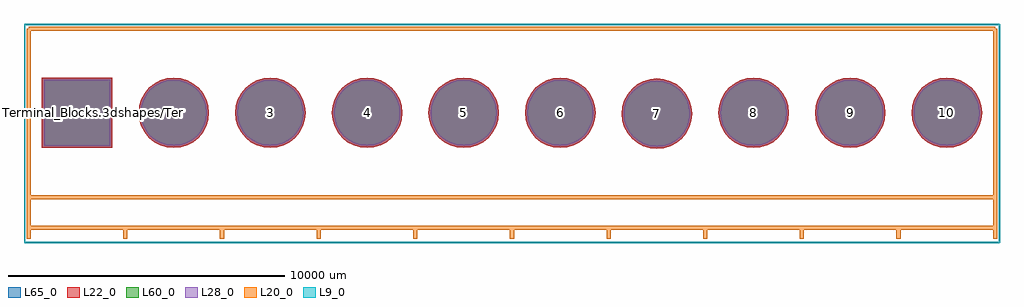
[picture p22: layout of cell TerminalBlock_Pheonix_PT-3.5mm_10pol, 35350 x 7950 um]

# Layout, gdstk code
import gdstk
lib = gdstk.Library(unit=1e-6, precision=1e-09)
def R(c, l, rs):  # rectangles x0, y0, x1, y1
    for r in rs: c.add(gdstk.rectangle(r[:2], r[2:], *l))
def P(c, l, *ps):  # polygons
    for p in ps: c.add(gdstk.Polygon(p, *l))
L9_0 = (9, 0)
L20_0 = (20, 0)
L22_0 = (22, 0)
L28_0 = (28, 0)
L60_0 = (60, 0)
L65_0 = (65, 0)

terminalblock_pheonix_pt = lib.new_cell('TerminalBlock_Pheonix_PT-3.5mm_10pol')
R(terminalblock_pheonix_pt, L22_0, [(-1275,-1275,1275,1275)])
P(terminalblock_pheonix_pt, L22_0, [(32775,0),(32750.501,248.74),(32677.946,487.921),(32560.124,708.352),(32401.561,901.561),(32208.352,1060.124),(31987.921,1177.946),(31748.74,1250.501),(31500,1275),(31251.26,1250.501),(31012.079,1177.946),(30791.648,1060.124),(30598.439,901.561),(30439.876,708.352),(30322.054,487.921),(30249.499,248.74),(30225,0),(30249.499,-248.74),(30322.054,-487.921),(30439.876,-708.352),(30598.439,-901.561),(30791.648,-1060.124),(31012.079,-1177.946),(31251.26,-1250.501),(31500,-1275),(31748.74,-1250.501),(31987.921,-1177.946),(32208.352,-1060.124),(32401.561,-901.561),(32560.124,-708.352),(32677.946,-487.921),(32750.501,-248.74)],
  [(29275,0),(29250.501,248.74),(29177.946,487.921),(29060.124,708.352),(28901.561,901.561),(28708.352,1060.124),(28487.921,1177.946),(28248.74,1250.501),(28000,1275),(27751.26,1250.501),(27512.079,1177.946),(27291.648,1060.124),(27098.439,901.561),(26939.876,708.352),(26822.054,487.921),(26749.499,248.74),(26725,0),(26749.499,-248.74),(26822.054,-487.921),(26939.876,-708.352),(27098.439,-901.561),(27291.648,-1060.124),(27512.079,-1177.946),(27751.26,-1250.501),(28000,-1275),(28248.74,-1250.501),(28487.921,-1177.946),(28708.352,-1060.124),(28901.561,-901.561),(29060.124,-708.352),(29177.946,-487.921),(29250.501,-248.74)],
  [(25775,0),(25750.501,248.74),(25677.946,487.921),(25560.124,708.352),(25401.561,901.561),(25208.352,1060.124),(24987.921,1177.946),(24748.74,1250.501),(24500,1275),(24251.26,1250.501),(24012.079,1177.946),(23791.648,1060.124),(23598.439,901.561),(23439.876,708.352),(23322.054,487.921),(23249.499,248.74),(23225,0),(23249.499,-248.74),(23322.054,-487.921),(23439.876,-708.352),(23598.439,-901.561),(23791.648,-1060.124),(24012.079,-1177.946),(24251.26,-1250.501),(24500,-1275),(24748.74,-1250.501),(24987.921,-1177.946),(25208.352,-1060.124),(25401.561,-901.561),(25560.124,-708.352),(25677.946,-487.921),(25750.501,-248.74)],
  [(22275,-31.729),(22250.501,217.011),(22177.946,456.192),(22060.124,676.623),(21901.561,869.832),(21708.352,1028.395),(21487.921,1146.217),(21248.74,1218.772),(21000,1243.271),(20751.26,1218.772),(20512.079,1146.217),(20291.648,1028.395),(20098.439,869.832),(19939.876,676.623),(19822.054,456.192),(19749.499,217.011),(19725,-31.729),(19749.499,-280.469),(19822.054,-519.65),(19939.876,-740.081),(20098.439,-933.29),(20291.648,-1091.853),(20512.079,-1209.675),(20751.26,-1282.23),(21000,-1306.729),(21248.74,-1282.23),(21487.921,-1209.675),(21708.352,-1091.853),(21901.561,-933.29),(22060.124,-740.081),(22177.946,-519.65),(22250.501,-280.469)],
  [(18775,0),(18750.501,248.74),(18677.946,487.921),(18560.124,708.352),(18401.561,901.561),(18208.352,1060.124),(17987.921,1177.946),(17748.74,1250.501),(17500,1275),(17251.26,1250.501),(17012.079,1177.946),(16791.648,1060.124),(16598.439,901.561),(16439.876,708.352),(16322.054,487.921),(16249.499,248.74),(16225,0),(16249.499,-248.74),(16322.054,-487.921),(16439.876,-708.352),(16598.439,-901.561),(16791.648,-1060.124),(17012.079,-1177.946),(17251.26,-1250.501),(17500,-1275),(17748.74,-1250.501),(17987.921,-1177.946),(18208.352,-1060.124),(18401.561,-901.561),(18560.124,-708.352),(18677.946,-487.921),(18750.501,-248.74)],
  [(15275,0),(15250.501,248.74),(15177.946,487.921),(15060.124,708.352),(14901.561,901.561),(14708.352,1060.124),(14487.921,1177.946),(14248.74,1250.501),(14000,1275),(13751.26,1250.501),(13512.079,1177.946),(13291.648,1060.124),(13098.439,901.561),(12939.876,708.352),(12822.054,487.921),(12749.499,248.74),(12725,0),(12749.499,-248.74),(12822.054,-487.921),(12939.876,-708.352),(13098.439,-901.561),(13291.648,-1060.124),(13512.079,-1177.946),(13751.26,-1250.501),(14000,-1275),(14248.74,-1250.501),(14487.921,-1177.946),(14708.352,-1060.124),(14901.561,-901.561),(15060.124,-708.352),(15177.946,-487.921),(15250.501,-248.74)],
  [(11775,0),(11750.501,248.74),(11677.946,487.921),(11560.124,708.352),(11401.561,901.561),(11208.352,1060.124),(10987.921,1177.946),(10748.74,1250.501),(10500,1275),(10251.26,1250.501),(10012.079,1177.946),(9791.648,1060.124),(9598.439,901.561),(9439.876,708.352),(9322.054,487.921),(9249.499,248.74),(9225,0),(9249.499,-248.74),(9322.054,-487.921),(9439.876,-708.352),(9598.439,-901.561),(9791.648,-1060.124),(10012.079,-1177.946),(10251.26,-1250.501),(10500,-1275),(10748.74,-1250.501),(10987.921,-1177.946),(11208.352,-1060.124),(11401.561,-901.561),(11560.124,-708.352),(11677.946,-487.921),(11750.501,-248.74)],
  [(4775,0),(4750.501,248.74),(4677.946,487.921),(4560.124,708.352),(4401.561,901.561),(4208.352,1060.124),(3987.921,1177.946),(3748.74,1250.501),(3500,1275),(3251.26,1250.501),(3012.079,1177.946),(2791.648,1060.124),(2598.439,901.561),(2439.876,708.352),(2322.054,487.921),(2249.499,248.74),(2225,0),(2249.499,-248.74),(2322.054,-487.921),(2439.876,-708.352),(2598.439,-901.561),(2791.648,-1060.124),(3012.079,-1177.946),(3251.26,-1250.501),(3500,-1275),(3748.74,-1250.501),(3987.921,-1177.946),(4208.352,-1060.124),(4401.561,-901.561),(4560.124,-708.352),(4677.946,-487.921),(4750.501,-248.74)],
  [(8275,0),(8250.501,248.74),(8177.946,487.921),(8060.124,708.352),(7901.561,901.561),(7708.352,1060.124),(7487.921,1177.946),(7248.74,1250.501),(7000,1275),(6751.26,1250.501),(6512.079,1177.946),(6291.648,1060.124),(6098.439,901.561),(5939.876,708.352),(5822.054,487.921),(5749.499,248.74),(5725,0),(5749.499,-248.74),(5822.054,-487.921),(5939.876,-708.352),(6098.439,-901.561),(6291.648,-1060.124),(6512.079,-1177.946),(6751.26,-1250.501),(7000,-1275),(7248.74,-1250.501),(7487.921,-1177.946),(7708.352,-1060.124),(7901.561,-901.561),(8060.124,-708.352),(8177.946,-487.921),(8250.501,-248.74)])
R(terminalblock_pheonix_pt, L28_0, [(-1200,-1200,1200,1200)])
P(terminalblock_pheonix_pt, L28_0, [(32700,0),(32676.942,234.108),(32608.655,459.22),(32497.764,666.684),(32348.528,848.528),(32166.684,997.764),(31959.22,1108.655),(31734.108,1176.942),(31500,1200),(31265.892,1176.942),(31040.78,1108.655),(30833.316,997.764),(30651.472,848.528),(30502.236,666.684),(30391.345,459.22),(30323.058,234.108),(30300,0),(30323.058,-234.108),(30391.345,-459.22),(30502.236,-666.684),(30651.472,-848.528),(30833.316,-997.764),(31040.78,-1108.655),(31265.892,-1176.942),(31500,-1200),(31734.108,-1176.942),(31959.22,-1108.655),(32166.684,-997.764),(32348.528,-848.528),(32497.764,-666.684),(32608.655,-459.22),(32676.942,-234.108)],
  [(29200,0),(29176.942,234.108),(29108.655,459.22),(28997.764,666.684),(28848.528,848.528),(28666.684,997.764),(28459.22,1108.655),(28234.108,1176.942),(28000,1200),(27765.892,1176.942),(27540.78,1108.655),(27333.316,997.764),(27151.472,848.528),(27002.236,666.684),(26891.345,459.22),(26823.058,234.108),(26800,0),(26823.058,-234.108),(26891.345,-459.22),(27002.236,-666.684),(27151.472,-848.528),(27333.316,-997.764),(27540.78,-1108.655),(27765.892,-1176.942),(28000,-1200),(28234.108,-1176.942),(28459.22,-1108.655),(28666.684,-997.764),(28848.528,-848.528),(28997.764,-666.684),(29108.655,-459.22),(29176.942,-234.108)],
  [(25700,0),(25676.942,234.108),(25608.655,459.22),(25497.764,666.684),(25348.528,848.528),(25166.684,997.764),(24959.22,1108.655),(24734.108,1176.942),(24500,1200),(24265.892,1176.942),(24040.78,1108.655),(23833.316,997.764),(23651.472,848.528),(23502.236,666.684),(23391.345,459.22),(23323.058,234.108),(23300,0),(23323.058,-234.108),(23391.345,-459.22),(23502.236,-666.684),(23651.472,-848.528),(23833.316,-997.764),(24040.78,-1108.655),(24265.892,-1176.942),(24500,-1200),(24734.108,-1176.942),(24959.22,-1108.655),(25166.684,-997.764),(25348.528,-848.528),(25497.764,-666.684),(25608.655,-459.22),(25676.942,-234.108)],
  [(22200,-31.729),(22176.942,202.379),(22108.655,427.491),(21997.764,634.955),(21848.528,816.799),(21666.684,966.035),(21459.22,1076.926),(21234.108,1145.213),(21000,1168.271),(20765.892,1145.213),(20540.78,1076.926),(20333.316,966.035),(20151.472,816.799),(20002.236,634.955),(19891.345,427.491),(19823.058,202.379),(19800,-31.729),(19823.058,-265.837),(19891.345,-490.949),(20002.236,-698.413),(20151.472,-880.257),(20333.316,-1029.493),(20540.78,-1140.384),(20765.892,-1208.671),(21000,-1231.729),(21234.108,-1208.671),(21459.22,-1140.384),(21666.684,-1029.493),(21848.528,-880.257),(21997.764,-698.413),(22108.655,-490.949),(22176.942,-265.837)],
  [(18700,0),(18676.942,234.108),(18608.655,459.22),(18497.764,666.684),(18348.528,848.528),(18166.684,997.764),(17959.22,1108.655),(17734.108,1176.942),(17500,1200),(17265.892,1176.942),(17040.78,1108.655),(16833.316,997.764),(16651.472,848.528),(16502.236,666.684),(16391.345,459.22),(16323.058,234.108),(16300,0),(16323.058,-234.108),(16391.345,-459.22),(16502.236,-666.684),(16651.472,-848.528),(16833.316,-997.764),(17040.78,-1108.655),(17265.892,-1176.942),(17500,-1200),(17734.108,-1176.942),(17959.22,-1108.655),(18166.684,-997.764),(18348.528,-848.528),(18497.764,-666.684),(18608.655,-459.22),(18676.942,-234.108)],
  [(15200,0),(15176.942,234.108),(15108.655,459.22),(14997.764,666.684),(14848.528,848.528),(14666.684,997.764),(14459.22,1108.655),(14234.108,1176.942),(14000,1200),(13765.892,1176.942),(13540.78,1108.655),(13333.316,997.764),(13151.472,848.528),(13002.236,666.684),(12891.345,459.22),(12823.058,234.108),(12800,0),(12823.058,-234.108),(12891.345,-459.22),(13002.236,-666.684),(13151.472,-848.528),(13333.316,-997.764),(13540.78,-1108.655),(13765.892,-1176.942),(14000,-1200),(14234.108,-1176.942),(14459.22,-1108.655),(14666.684,-997.764),(14848.528,-848.528),(14997.764,-666.684),(15108.655,-459.22),(15176.942,-234.108)],
  [(11700,0),(11676.942,234.108),(11608.655,459.22),(11497.764,666.684),(11348.528,848.528),(11166.684,997.764),(10959.22,1108.655),(10734.108,1176.942),(10500,1200),(10265.892,1176.942),(10040.78,1108.655),(9833.316,997.764),(9651.472,848.528),(9502.236,666.684),(9391.345,459.22),(9323.058,234.108),(9300,0),(9323.058,-234.108),(9391.345,-459.22),(9502.236,-666.684),(9651.472,-848.528),(9833.316,-997.764),(10040.78,-1108.655),(10265.892,-1176.942),(10500,-1200),(10734.108,-1176.942),(10959.22,-1108.655),(11166.684,-997.764),(11348.528,-848.528),(11497.764,-666.684),(11608.655,-459.22),(11676.942,-234.108)],
  [(4700,0),(4676.942,234.108),(4608.655,459.22),(4497.764,666.684),(4348.528,848.528),(4166.684,997.764),(3959.22,1108.655),(3734.108,1176.942),(3500,1200),(3265.892,1176.942),(3040.78,1108.655),(2833.316,997.764),(2651.472,848.528),(2502.236,666.684),(2391.345,459.22),(2323.058,234.108),(2300,0),(2323.058,-234.108),(2391.345,-459.22),(2502.236,-666.684),(2651.472,-848.528),(2833.316,-997.764),(3040.78,-1108.655),(3265.892,-1176.942),(3500,-1200),(3734.108,-1176.942),(3959.22,-1108.655),(4166.684,-997.764),(4348.528,-848.528),(4497.764,-666.684),(4608.655,-459.22),(4676.942,-234.108)],
  [(8200,0),(8176.942,234.108),(8108.655,459.22),(7997.764,666.684),(7848.528,848.528),(7666.684,997.764),(7459.22,1108.655),(7234.108,1176.942),(7000,1200),(6765.892,1176.942),(6540.78,1108.655),(6333.316,997.764),(6151.472,848.528),(6002.236,666.684),(5891.345,459.22),(5823.058,234.108),(5800,0),(5823.058,-234.108),(5891.345,-459.22),(6002.236,-666.684),(6151.472,-848.528),(6333.316,-997.764),(6540.78,-1108.655),(6765.892,-1176.942),(7000,-1200),(7234.108,-1176.942),(7459.22,-1108.655),(7666.684,-997.764),(7848.528,-848.528),(7997.764,-666.684),(8108.655,-459.22),(8176.942,-234.108)])
R(terminalblock_pheonix_pt, L60_0, [(-1200,-1200,1200,1200)])
P(terminalblock_pheonix_pt, L60_0, [(32700,0),(32676.942,234.108),(32608.655,459.22),(32497.764,666.684),(32348.528,848.528),(32166.684,997.764),(31959.22,1108.655),(31734.108,1176.942),(31500,1200),(31265.892,1176.942),(31040.78,1108.655),(30833.316,997.764),(30651.472,848.528),(30502.236,666.684),(30391.345,459.22),(30323.058,234.108),(30300,0),(30323.058,-234.108),(30391.345,-459.22),(30502.236,-666.684),(30651.472,-848.528),(30833.316,-997.764),(31040.78,-1108.655),(31265.892,-1176.942),(31500,-1200),(31734.108,-1176.942),(31959.22,-1108.655),(32166.684,-997.764),(32348.528,-848.528),(32497.764,-666.684),(32608.655,-459.22),(32676.942,-234.108)],
  [(29200,0),(29176.942,234.108),(29108.655,459.22),(28997.764,666.684),(28848.528,848.528),(28666.684,997.764),(28459.22,1108.655),(28234.108,1176.942),(28000,1200),(27765.892,1176.942),(27540.78,1108.655),(27333.316,997.764),(27151.472,848.528),(27002.236,666.684),(26891.345,459.22),(26823.058,234.108),(26800,0),(26823.058,-234.108),(26891.345,-459.22),(27002.236,-666.684),(27151.472,-848.528),(27333.316,-997.764),(27540.78,-1108.655),(27765.892,-1176.942),(28000,-1200),(28234.108,-1176.942),(28459.22,-1108.655),(28666.684,-997.764),(28848.528,-848.528),(28997.764,-666.684),(29108.655,-459.22),(29176.942,-234.108)],
  [(25700,0),(25676.942,234.108),(25608.655,459.22),(25497.764,666.684),(25348.528,848.528),(25166.684,997.764),(24959.22,1108.655),(24734.108,1176.942),(24500,1200),(24265.892,1176.942),(24040.78,1108.655),(23833.316,997.764),(23651.472,848.528),(23502.236,666.684),(23391.345,459.22),(23323.058,234.108),(23300,0),(23323.058,-234.108),(23391.345,-459.22),(23502.236,-666.684),(23651.472,-848.528),(23833.316,-997.764),(24040.78,-1108.655),(24265.892,-1176.942),(24500,-1200),(24734.108,-1176.942),(24959.22,-1108.655),(25166.684,-997.764),(25348.528,-848.528),(25497.764,-666.684),(25608.655,-459.22),(25676.942,-234.108)],
  [(22200,-31.729),(22176.942,202.379),(22108.655,427.491),(21997.764,634.955),(21848.528,816.799),(21666.684,966.035),(21459.22,1076.926),(21234.108,1145.213),(21000,1168.271),(20765.892,1145.213),(20540.78,1076.926),(20333.316,966.035),(20151.472,816.799),(20002.236,634.955),(19891.345,427.491),(19823.058,202.379),(19800,-31.729),(19823.058,-265.837),(19891.345,-490.949),(20002.236,-698.413),(20151.472,-880.257),(20333.316,-1029.493),(20540.78,-1140.384),(20765.892,-1208.671),(21000,-1231.729),(21234.108,-1208.671),(21459.22,-1140.384),(21666.684,-1029.493),(21848.528,-880.257),(21997.764,-698.413),(22108.655,-490.949),(22176.942,-265.837)],
  [(18700,0),(18676.942,234.108),(18608.655,459.22),(18497.764,666.684),(18348.528,848.528),(18166.684,997.764),(17959.22,1108.655),(17734.108,1176.942),(17500,1200),(17265.892,1176.942),(17040.78,1108.655),(16833.316,997.764),(16651.472,848.528),(16502.236,666.684),(16391.345,459.22),(16323.058,234.108),(16300,0),(16323.058,-234.108),(16391.345,-459.22),(16502.236,-666.684),(16651.472,-848.528),(16833.316,-997.764),(17040.78,-1108.655),(17265.892,-1176.942),(17500,-1200),(17734.108,-1176.942),(17959.22,-1108.655),(18166.684,-997.764),(18348.528,-848.528),(18497.764,-666.684),(18608.655,-459.22),(18676.942,-234.108)],
  [(15200,0),(15176.942,234.108),(15108.655,459.22),(14997.764,666.684),(14848.528,848.528),(14666.684,997.764),(14459.22,1108.655),(14234.108,1176.942),(14000,1200),(13765.892,1176.942),(13540.78,1108.655),(13333.316,997.764),(13151.472,848.528),(13002.236,666.684),(12891.345,459.22),(12823.058,234.108),(12800,0),(12823.058,-234.108),(12891.345,-459.22),(13002.236,-666.684),(13151.472,-848.528),(13333.316,-997.764),(13540.78,-1108.655),(13765.892,-1176.942),(14000,-1200),(14234.108,-1176.942),(14459.22,-1108.655),(14666.684,-997.764),(14848.528,-848.528),(14997.764,-666.684),(15108.655,-459.22),(15176.942,-234.108)],
  [(11700,0),(11676.942,234.108),(11608.655,459.22),(11497.764,666.684),(11348.528,848.528),(11166.684,997.764),(10959.22,1108.655),(10734.108,1176.942),(10500,1200),(10265.892,1176.942),(10040.78,1108.655),(9833.316,997.764),(9651.472,848.528),(9502.236,666.684),(9391.345,459.22),(9323.058,234.108),(9300,0),(9323.058,-234.108),(9391.345,-459.22),(9502.236,-666.684),(9651.472,-848.528),(9833.316,-997.764),(10040.78,-1108.655),(10265.892,-1176.942),(10500,-1200),(10734.108,-1176.942),(10959.22,-1108.655),(11166.684,-997.764),(11348.528,-848.528),(11497.764,-666.684),(11608.655,-459.22),(11676.942,-234.108)],
  [(4700,0),(4676.942,234.108),(4608.655,459.22),(4497.764,666.684),(4348.528,848.528),(4166.684,997.764),(3959.22,1108.655),(3734.108,1176.942),(3500,1200),(3265.892,1176.942),(3040.78,1108.655),(2833.316,997.764),(2651.472,848.528),(2502.236,666.684),(2391.345,459.22),(2323.058,234.108),(2300,0),(2323.058,-234.108),(2391.345,-459.22),(2502.236,-666.684),(2651.472,-848.528),(2833.316,-997.764),(3040.78,-1108.655),(3265.892,-1176.942),(3500,-1200),(3734.108,-1176.942),(3959.22,-1108.655),(4166.684,-997.764),(4348.528,-848.528),(4497.764,-666.684),(4608.655,-459.22),(4676.942,-234.108)],
  [(8200,0),(8176.942,234.108),(8108.655,459.22),(7997.764,666.684),(7848.528,848.528),(7666.684,997.764),(7459.22,1108.655),(7234.108,1176.942),(7000,1200),(6765.892,1176.942),(6540.78,1108.655),(6333.316,997.764),(6151.472,848.528),(6002.236,666.684),(5891.345,459.22),(5823.058,234.108),(5800,0),(5823.058,-234.108),(5891.345,-459.22),(6002.236,-666.684),(6151.472,-848.528),(6333.316,-997.764),(6540.78,-1108.655),(6765.892,-1176.942),(7000,-1200),(7234.108,-1176.942),(7459.22,-1108.655),(7666.684,-997.764),(7848.528,-848.528),(7997.764,-666.684),(8108.655,-459.22),(8176.942,-234.108)])
R(terminalblock_pheonix_pt, L65_0, [(-1275,-1275,1275,1275)])
P(terminalblock_pheonix_pt, L65_0, [(32775,0),(32750.501,248.74),(32677.946,487.921),(32560.124,708.352),(32401.561,901.561),(32208.352,1060.124),(31987.921,1177.946),(31748.74,1250.501),(31500,1275),(31251.26,1250.501),(31012.079,1177.946),(30791.648,1060.124),(30598.439,901.561),(30439.876,708.352),(30322.054,487.921),(30249.499,248.74),(30225,0),(30249.499,-248.74),(30322.054,-487.921),(30439.876,-708.352),(30598.439,-901.561),(30791.648,-1060.124),(31012.079,-1177.946),(31251.26,-1250.501),(31500,-1275),(31748.74,-1250.501),(31987.921,-1177.946),(32208.352,-1060.124),(32401.561,-901.561),(32560.124,-708.352),(32677.946,-487.921),(32750.501,-248.74)],
  [(29275,0),(29250.501,248.74),(29177.946,487.921),(29060.124,708.352),(28901.561,901.561),(28708.352,1060.124),(28487.921,1177.946),(28248.74,1250.501),(28000,1275),(27751.26,1250.501),(27512.079,1177.946),(27291.648,1060.124),(27098.439,901.561),(26939.876,708.352),(26822.054,487.921),(26749.499,248.74),(26725,0),(26749.499,-248.74),(26822.054,-487.921),(26939.876,-708.352),(27098.439,-901.561),(27291.648,-1060.124),(27512.079,-1177.946),(27751.26,-1250.501),(28000,-1275),(28248.74,-1250.501),(28487.921,-1177.946),(28708.352,-1060.124),(28901.561,-901.561),(29060.124,-708.352),(29177.946,-487.921),(29250.501,-248.74)],
  [(25775,0),(25750.501,248.74),(25677.946,487.921),(25560.124,708.352),(25401.561,901.561),(25208.352,1060.124),(24987.921,1177.946),(24748.74,1250.501),(24500,1275),(24251.26,1250.501),(24012.079,1177.946),(23791.648,1060.124),(23598.439,901.561),(23439.876,708.352),(23322.054,487.921),(23249.499,248.74),(23225,0),(23249.499,-248.74),(23322.054,-487.921),(23439.876,-708.352),(23598.439,-901.561),(23791.648,-1060.124),(24012.079,-1177.946),(24251.26,-1250.501),(24500,-1275),(24748.74,-1250.501),(24987.921,-1177.946),(25208.352,-1060.124),(25401.561,-901.561),(25560.124,-708.352),(25677.946,-487.921),(25750.501,-248.74)],
  [(22275,-31.729),(22250.501,217.011),(22177.946,456.192),(22060.124,676.623),(21901.561,869.832),(21708.352,1028.395),(21487.921,1146.217),(21248.74,1218.772),(21000,1243.271),(20751.26,1218.772),(20512.079,1146.217),(20291.648,1028.395),(20098.439,869.832),(19939.876,676.623),(19822.054,456.192),(19749.499,217.011),(19725,-31.729),(19749.499,-280.469),(19822.054,-519.65),(19939.876,-740.081),(20098.439,-933.29),(20291.648,-1091.853),(20512.079,-1209.675),(20751.26,-1282.23),(21000,-1306.729),(21248.74,-1282.23),(21487.921,-1209.675),(21708.352,-1091.853),(21901.561,-933.29),(22060.124,-740.081),(22177.946,-519.65),(22250.501,-280.469)],
  [(18775,0),(18750.501,248.74),(18677.946,487.921),(18560.124,708.352),(18401.561,901.561),(18208.352,1060.124),(17987.921,1177.946),(17748.74,1250.501),(17500,1275),(17251.26,1250.501),(17012.079,1177.946),(16791.648,1060.124),(16598.439,901.561),(16439.876,708.352),(16322.054,487.921),(16249.499,248.74),(16225,0),(16249.499,-248.74),(16322.054,-487.921),(16439.876,-708.352),(16598.439,-901.561),(16791.648,-1060.124),(17012.079,-1177.946),(17251.26,-1250.501),(17500,-1275),(17748.74,-1250.501),(17987.921,-1177.946),(18208.352,-1060.124),(18401.561,-901.561),(18560.124,-708.352),(18677.946,-487.921),(18750.501,-248.74)],
  [(15275,0),(15250.501,248.74),(15177.946,487.921),(15060.124,708.352),(14901.561,901.561),(14708.352,1060.124),(14487.921,1177.946),(14248.74,1250.501),(14000,1275),(13751.26,1250.501),(13512.079,1177.946),(13291.648,1060.124),(13098.439,901.561),(12939.876,708.352),(12822.054,487.921),(12749.499,248.74),(12725,0),(12749.499,-248.74),(12822.054,-487.921),(12939.876,-708.352),(13098.439,-901.561),(13291.648,-1060.124),(13512.079,-1177.946),(13751.26,-1250.501),(14000,-1275),(14248.74,-1250.501),(14487.921,-1177.946),(14708.352,-1060.124),(14901.561,-901.561),(15060.124,-708.352),(15177.946,-487.921),(15250.501,-248.74)],
  [(11775,0),(11750.501,248.74),(11677.946,487.921),(11560.124,708.352),(11401.561,901.561),(11208.352,1060.124),(10987.921,1177.946),(10748.74,1250.501),(10500,1275),(10251.26,1250.501),(10012.079,1177.946),(9791.648,1060.124),(9598.439,901.561),(9439.876,708.352),(9322.054,487.921),(9249.499,248.74),(9225,0),(9249.499,-248.74),(9322.054,-487.921),(9439.876,-708.352),(9598.439,-901.561),(9791.648,-1060.124),(10012.079,-1177.946),(10251.26,-1250.501),(10500,-1275),(10748.74,-1250.501),(10987.921,-1177.946),(11208.352,-1060.124),(11401.561,-901.561),(11560.124,-708.352),(11677.946,-487.921),(11750.501,-248.74)],
  [(4775,0),(4750.501,248.74),(4677.946,487.921),(4560.124,708.352),(4401.561,901.561),(4208.352,1060.124),(3987.921,1177.946),(3748.74,1250.501),(3500,1275),(3251.26,1250.501),(3012.079,1177.946),(2791.648,1060.124),(2598.439,901.561),(2439.876,708.352),(2322.054,487.921),(2249.499,248.74),(2225,0),(2249.499,-248.74),(2322.054,-487.921),(2439.876,-708.352),(2598.439,-901.561),(2791.648,-1060.124),(3012.079,-1177.946),(3251.26,-1250.501),(3500,-1275),(3748.74,-1250.501),(3987.921,-1177.946),(4208.352,-1060.124),(4401.561,-901.561),(4560.124,-708.352),(4677.946,-487.921),(4750.501,-248.74)],
  [(8275,0),(8250.501,248.74),(8177.946,487.921),(8060.124,708.352),(7901.561,901.561),(7708.352,1060.124),(7487.921,1177.946),(7248.74,1250.501),(7000,1275),(6751.26,1250.501),(6512.079,1177.946),(6291.648,1060.124),(6098.439,901.561),(5939.876,708.352),(5822.054,487.921),(5749.499,248.74),(5725,0),(5749.499,-248.74),(5822.054,-487.921),(5939.876,-708.352),(6098.439,-901.561),(6291.648,-1060.124),(6512.079,-1177.946),(6751.26,-1250.501),(7000,-1275),(7248.74,-1250.501),(7487.921,-1177.946),(7708.352,-1060.124),(7901.561,-901.561),(8060.124,-708.352),(8177.946,-487.921),(8250.501,-248.74)])
terminalblock_pheonix_pt.add(gdstk.FlexPath([(33248,3038),(-1752,3038)], 149.998, ends="flush", simple_path=True, layer=20, datatype=0))  # L20_0
terminalblock_pheonix_pt.add(gdstk.FlexPath([(33248,-4562),(33248,3038)], 149.998, ends="flush", simple_path=True, layer=20, datatype=0))  # L20_0
terminalblock_pheonix_pt.add(gdstk.FlexPath([(-1752,3038),(-1752,-4562)], 149.998, ends="flush", simple_path=True, layer=20, datatype=0))  # L20_0
terminalblock_pheonix_pt.add(gdstk.FlexPath([(-1752,-4162),(33248,-4162)], 149.998, ends="flush", simple_path=True, layer=20, datatype=0))  # L20_0
terminalblock_pheonix_pt.add(gdstk.FlexPath([(-1752,-3062),(33248,-3062)], 149.998, ends="flush", simple_path=True, layer=20, datatype=0))  # L20_0
terminalblock_pheonix_pt.add(gdstk.FlexPath([(12248,-4162),(12248,-4562)], 149.998, ends="flush", simple_path=True, layer=20, datatype=0))  # L20_0
terminalblock_pheonix_pt.add(gdstk.FlexPath([(5248,-4162),(5248,-4562)], 149.998, ends="flush", simple_path=True, layer=20, datatype=0))  # L20_0
terminalblock_pheonix_pt.add(gdstk.FlexPath([(1748,-4162),(1748,-4562)], 149.998, ends="flush", simple_path=True, layer=20, datatype=0))  # L20_0
terminalblock_pheonix_pt.add(gdstk.FlexPath([(15748,-4162),(15748,-4562)], 149.998, ends="flush", simple_path=True, layer=20, datatype=0))  # L20_0
terminalblock_pheonix_pt.add(gdstk.FlexPath([(19248,-4162),(19248,-4562)], 149.998, ends="flush", simple_path=True, layer=20, datatype=0))  # L20_0
terminalblock_pheonix_pt.add(gdstk.FlexPath([(8748,-4162),(8748,-4562)], 149.998, ends="flush", simple_path=True, layer=20, datatype=0))  # L20_0
terminalblock_pheonix_pt.add(gdstk.FlexPath([(22748,-4162),(22748,-4562)], 149.998, ends="flush", simple_path=True, layer=20, datatype=0))  # L20_0
terminalblock_pheonix_pt.add(gdstk.FlexPath([(29748,-4162),(29748,-4562)], 149.998, ends="flush", simple_path=True, layer=20, datatype=0))  # L20_0
terminalblock_pheonix_pt.add(gdstk.FlexPath([(26248,-4162),(26248,-4562)], 149.998, ends="flush", simple_path=True, layer=20, datatype=0))  # L20_0
terminalblock_pheonix_pt.add(gdstk.FlexPath([(33400,3200),(33400,-4700)], 50, ends="flush", simple_path=True, layer=9, datatype=0))  # L9_0
terminalblock_pheonix_pt.add(gdstk.FlexPath([(33400,-4700),(-1900,-4700)], 50, ends="flush", simple_path=True, layer=9, datatype=0))  # L9_0
terminalblock_pheonix_pt.add(gdstk.FlexPath([(-1900,-4700),(-1900,3200)], 50, ends="flush", simple_path=True, layer=9, datatype=0))  # L9_0
terminalblock_pheonix_pt.add(gdstk.FlexPath([(-1900,3200),(33400,3200)], 50, ends="flush", simple_path=True, layer=9, datatype=0))  # L9_0
terminalblock_pheonix_pt.add(gdstk.Label('Terminal_Blocks.3dshapes/TerminalBlock_Pheonix_PT-3.5mm_10pol.wrl', (0,0), layer=12, texttype=0))
terminalblock_pheonix_pt.add(gdstk.Label('10', (31500,0), layer=28, texttype=0))
terminalblock_pheonix_pt.add(gdstk.Label('9', (28000,0), layer=28, texttype=0))
terminalblock_pheonix_pt.add(gdstk.Label('8', (24500,0), layer=28, texttype=0))
terminalblock_pheonix_pt.add(gdstk.Label('1', (0,0), layer=28, texttype=0))
terminalblock_pheonix_pt.add(gdstk.Label('7', (21000,-31.729), layer=28, texttype=0))
terminalblock_pheonix_pt.add(gdstk.Label('6', (17500,0), layer=28, texttype=0))
terminalblock_pheonix_pt.add(gdstk.Label('5', (14000,0), layer=28, texttype=0))
terminalblock_pheonix_pt.add(gdstk.Label('4', (10500,0), layer=28, texttype=0))
terminalblock_pheonix_pt.add(gdstk.Label('2', (3500,0), layer=28, texttype=0))
terminalblock_pheonix_pt.add(gdstk.Label('3', (7000,0), layer=28, texttype=0))
terminalblock_pheonix_pt.add(gdstk.Label('type', (15748,-6062), layer=9, texttype=0))
terminalblock_pheonix_pt.add(gdstk.Label('devicename', (15748,4238), layer=9, texttype=0))

lib.write_gds('TerminalBlock_Pheonix_PT-3.5mm_10pol.gds')
